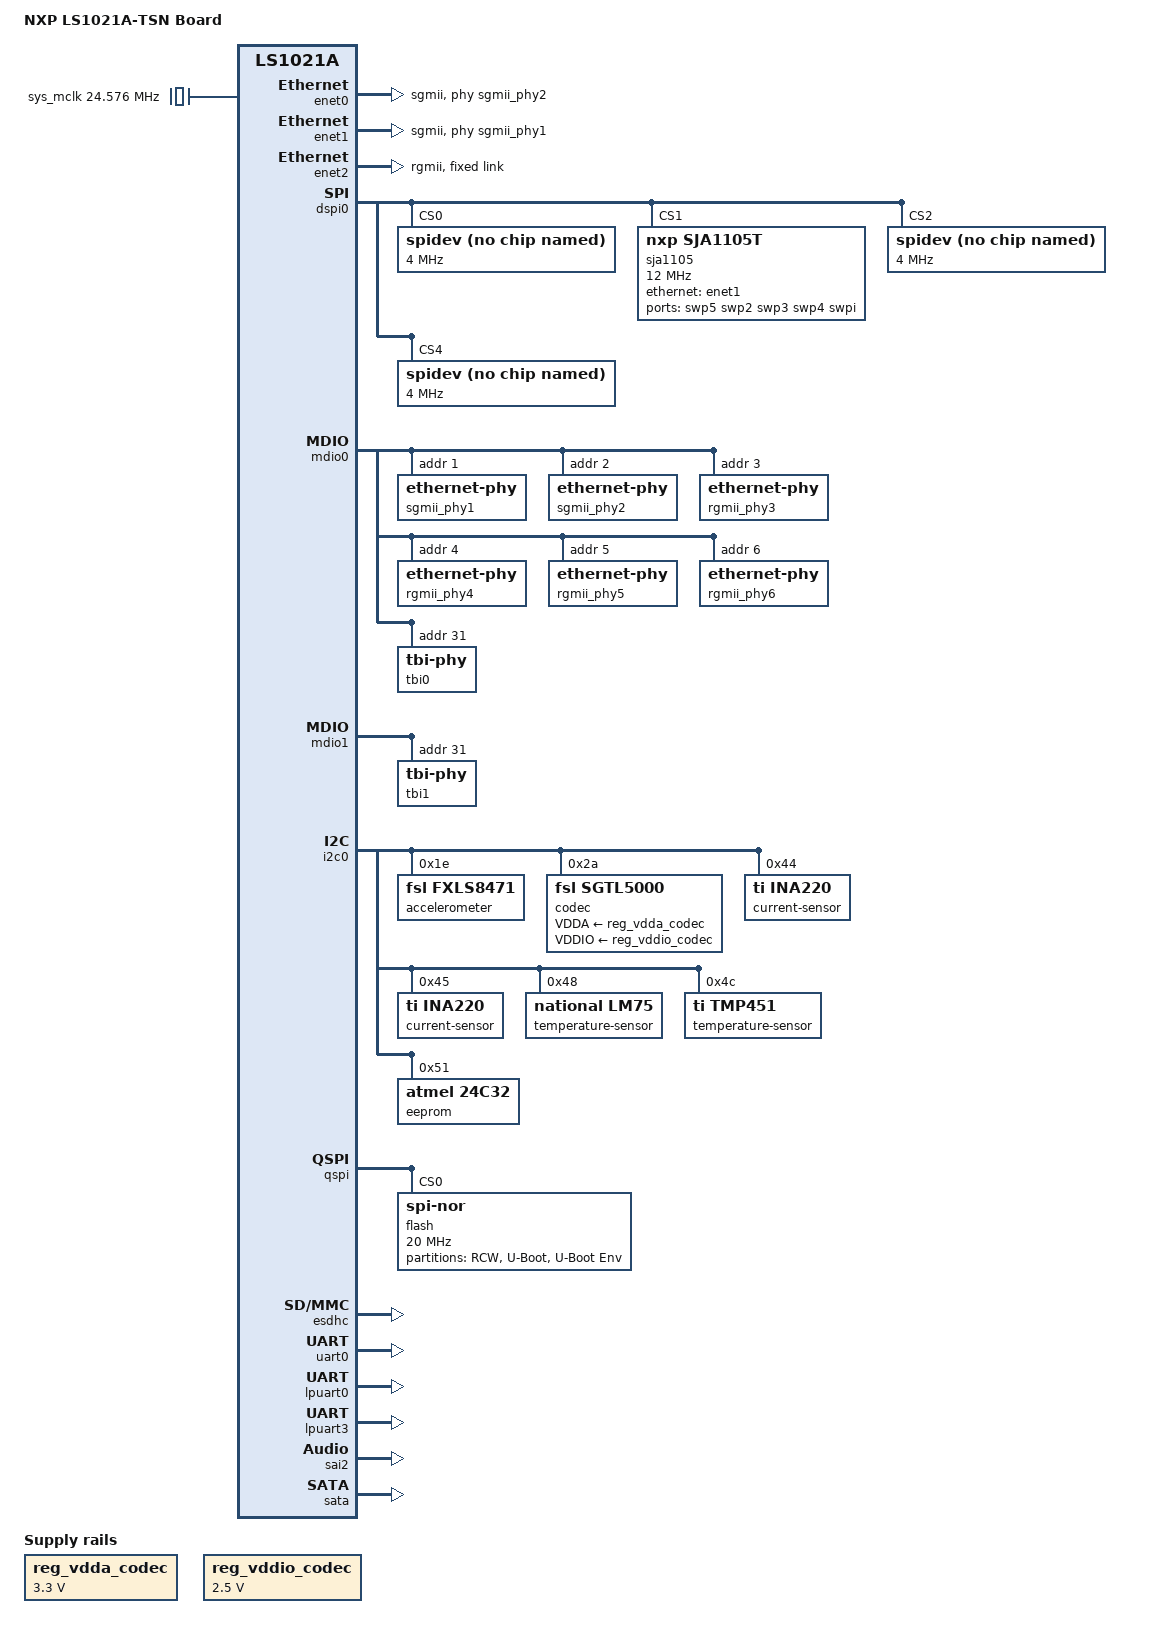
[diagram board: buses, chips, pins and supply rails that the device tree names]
// SPDX-License-Identifier: GPL-2.0
/* Copyright 2016-2018 NXP Semiconductors
 * Copyright 2019 Vladimir Oltean <olteanv@gmail.com>
 */

/dts-v1/;
#include "ls1021a.dtsi"

/ {
	model = "NXP LS1021A-TSN Board";

	sys_mclk: clock-mclk {
		compatible = "fixed-clock";
		#clock-cells = <0>;
		clock-frequency = <24576000>;
	};

	reg_vdda_codec: regulator-3V3 {
		compatible = "regulator-fixed";
		regulator-name = "3P3V";
		regulator-min-microvolt = <3300000>;
		regulator-max-microvolt = <3300000>;
		regulator-always-on;
	};

	reg_vddio_codec: regulator-2V5 {
		compatible = "regulator-fixed";
		regulator-name = "2P5V";
		regulator-min-microvolt = <2500000>;
		regulator-max-microvolt = <2500000>;
		regulator-always-on;
	};
};

&enet0 {
	tbi-handle = <&tbi0>;
	phy-handle = <&sgmii_phy2>;
	phy-mode = "sgmii";
	status = "okay";
};

&enet1 {
	tbi-handle = <&tbi1>;
	phy-handle = <&sgmii_phy1>;
	phy-mode = "sgmii";
	status = "okay";
};

/* RGMII delays added via PCB traces */
&enet2 {
	phy-mode = "rgmii";
	status = "okay";

	fixed-link {
		speed = <1000>;
		full-duplex;
	};
};

&dspi0 {
	bus-num = <0>;
	status = "okay";

	/* ADG704BRMZ 1:4 mux/demux */
	spidev@0 {
		compatible = "rohm,dh2228fv";
		reg = <0x0>;
		spi-max-frequency = <4000000>;
		#address-cells = <1>;
		#size-cells = <1>;
	};

	sja1105: ethernet-switch@1 {
		reg = <0x1>;
		#address-cells = <1>;
		#size-cells = <0>;
		compatible = "nxp,sja1105t";
		/* 12 MHz */
		spi-max-frequency = <12000000>;
		/* Sample data on trailing clock edge */
		spi-cpha;
		fsl,spi-cs-sck-delay = <1000>;
		fsl,spi-sck-cs-delay = <1000>;

		ports {
			#address-cells = <1>;
			#size-cells = <0>;

			port@0 {
				/* ETH5 written on chassis */
				label = "swp5";
				phy-handle = <&rgmii_phy6>;
				phy-mode = "rgmii-id";
				reg = <0>;
			};

			port@1 {
				/* ETH2 written on chassis */
				ethernet = <&enet1>;
				label = "swp2";
				phy-handle = <&rgmii_phy3>;
				phy-mode = "rgmii-id";
				reg = <1>;
			};

			port@2 {
				/* ETH3 written on chassis */
				label = "swp3";
				phy-handle = <&rgmii_phy4>;
				phy-mode = "rgmii-id";
				reg = <2>;
			};

			port@3 {
				/* ETH4 written on chassis */
				label = "swp4";
				phy-handle = <&rgmii_phy5>;
				phy-mode = "rgmii-id";
				reg = <3>;
			};

			port@4 {
				/* Internal port connected to eth2 */
				label = "swpi";
				phy-mode = "rgmii";
				reg = <4>;

				fixed-link {
					speed = <1000>;
					full-duplex;
				};
			};
		};
	};

	spidev@2 {
		compatible = "rohm,dh2228fv";
		reg = <0x2>;
		spi-max-frequency = <4000000>;
		#address-cells = <1>;
		#size-cells = <1>;
	};

	spidev@4 {
		compatible = "rohm,dh2228fv";
		reg = <0x4>;
		spi-max-frequency = <4000000>;
		#address-cells = <1>;
		#size-cells = <1>;
	};
};

&mdio0 {
	/* AR8031 */
	sgmii_phy1: ethernet-phy@1 {
		reg = <0x1>;
	};

	/* AR8031 */
	sgmii_phy2: ethernet-phy@2 {
		reg = <0x2>;
	};

	/* BCM5464 quad PHY */
	rgmii_phy3: ethernet-phy@3 {
		reg = <0x3>;
	};

	rgmii_phy4: ethernet-phy@4 {
		reg = <0x4>;
	};

	rgmii_phy5: ethernet-phy@5 {
		reg = <0x5>;
	};

	rgmii_phy6: ethernet-phy@6 {
		reg = <0x6>;
	};

	/* SGMII PCS for enet0 */
	tbi0: tbi-phy@1f {
		reg = <0x1f>;
		device_type = "tbi-phy";
	};
};

&mdio1 {
	/* SGMII PCS for enet1 */
	tbi1: tbi-phy@1f {
		reg = <0x1f>;
		device_type = "tbi-phy";
	};
};

&i2c0 {
	status = "okay";

	/* 3 axis accelerometer */
	accelerometer@1e {
		compatible = "fsl,fxls8471";
		reg = <0x1e>;
		position = <0>;
	};

	/* Gyroscope is at 0x20 but not supported */
	/* Audio codec (SAI2) */
	codec@2a {
		compatible = "fsl,sgtl5000";
		reg = <0x2a>;
		#sound-dai-cells = <0>;
		VDDA-supply = <&reg_vdda_codec>;
		VDDIO-supply = <&reg_vddio_codec>;
		clocks = <&sys_mclk>;
	};

	/* Current sensing circuit for 1V VDDCORE PMIC rail */
	current-sensor@44 {
		compatible = "ti,ina220";
		reg = <0x44>;
		shunt-resistor = <1000>;
	};

	/* Current sensing circuit for 12V VCC rail */
	current-sensor@45 {
		compatible = "ti,ina220";
		reg = <0x45>;
		shunt-resistor = <1000>;
	};

	/* Thermal monitor - case */
	temperature-sensor@48 {
		compatible = "national,lm75";
		reg = <0x48>;
	};

	/* Thermal monitor - chip */
	temperature-sensor@4c {
		compatible = "ti,tmp451";
		reg = <0x4c>;
	};

	/* TI ADS7924 4-channel ADC at 0x49 */
	eeprom@51 {
		compatible = "atmel,24c32";
		reg = <0x51>;
	};
};

&qspi {
	fsl,qspi-has-second-chip;
	status = "okay";

	flash@0 {
		compatible = "jedec,spi-nor", "spansion,s25fl129p1";
		#address-cells = <1>;
		#size-cells = <1>;
		spi-max-frequency = <20000000>;
		spi-rx-bus-width = <4>;
		spi-tx-bus-width = <4>;
		reg = <0>;

		partitions@0 {
			label = "RCW";
			reg = <0x0 0x10000>;
		};

		partitions@10000 {
			label = "U-Boot";
			reg = <0x10000 0x2F0000>;
		};

		partitions@300000 {
			label = "U-Boot Env";
			reg = <0x300000 0x100000>;
		};
	};
};

&ifc {
	status = "disabled";
};

&esdhc {
	status = "okay";
};

&uart0 {
	status = "okay";
};

&lpuart0 {
	status = "okay";
};

&lpuart3 {
	status = "okay";
};

&sai2 {
	status = "okay";
};

&sata {
	status = "okay";
};
